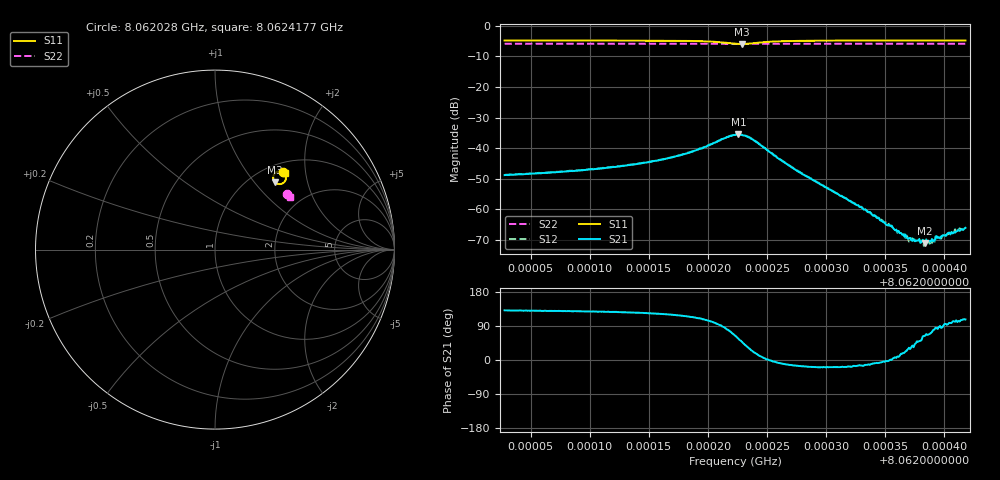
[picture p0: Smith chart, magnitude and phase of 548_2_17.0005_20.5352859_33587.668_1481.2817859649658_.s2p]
#  HZ  S  RI  R  50.00
! Rohde & Schwarz Vector Network Analyzer
! Rohde-Schwarz,ZNB20-2Port,1311601062101988,3.16
! Created: UTC 3/20/2024, 11:16:41 PM
! freq[Hz]  re:S11  im:S11  re:S21  im:S21  re:S12  im:S12  re:S22  im:S22
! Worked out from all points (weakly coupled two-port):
!   401 points, 8.062028 GHz to 8.0624177 GHz, reference 50 ohm
!   highest |S21| = -35.54 dB at 8.0622258 GHz (marker M1); lowest = -71.1 dB at 8.0623836 GHz (marker M2)
!   lowest |S11| = -6.0 dB at 8.0622287 GHz (marker M3), VSWR 3.02, Z = 64.1 + j64.3 ohm
!   |S11| at or under -10 dB: nowhere
!   |S22| runs from -5.9 to -5.9 dB; largest |S21 - S12| = 0.0011
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8.06202804e9  0.3788 0.4339  -0.00237 0.00273  -0.00222 0.00288  0.4037 0.3098
8.06209331e9  0.3846 0.428  -0.00269 0.00339  -0.00249 0.00358  0.4062 0.3063
8.06212741e9  0.3881 0.4234  -0.00301 0.00413  -0.0028 0.00431  0.4074 0.3044
8.06215858e9  0.3923 0.4165  -0.00336 0.00539  -0.00303 0.00562  0.4087 0.3026
8.06218585e9  0.3955 0.404  -0.00346 0.00795  -0.00305 0.00821  0.4095 0.3007
8.06220826e9  0.3888 0.3794  -0.00107 0.0128  -0.000335 0.0131  0.4095 0.2989
8.06222287e9  0.3543 0.3652  0.00696 0.0149  0.00798 0.0146  0.4083 0.2977
8.06222579e9  0.344 0.3686  0.00926 0.0139  0.01 0.0134  0.408 0.2982
8.06222872e9  0.3351 0.3748  0.0109 0.0122  0.0118 0.0117  0.4078 0.2982
8.06223748e9  0.3243 0.4031  0.0128 0.00571  0.0132 0.00503  0.408 0.2993
8.06226086e9  0.3501 0.435  0.00647 -0.000955  0.00647 -0.00138  0.4104 0.2993
8.06228814e9  0.3676 0.4356  0.00291 -0.000964  0.00286 -0.00111  0.412 0.2977
8.0623349e9  0.3794 0.431  0.000889 -0.000201  0.000894 -0.000223  0.414 0.2953
8.06235341e9  0.3822 0.4296  0.000561 -7.6e-06  0.000537 -4.65e-05  0.4147 0.2941
8.06236218e9  0.3833 0.4289  0.000398 8.1e-05  0.000419 5.59e-05  0.4151 0.2938
8.06237094e9  0.3844 0.4282  0.000298 0.000164  0.000301 0.000134  0.4154 0.2931
8.06238361e9  0.386 0.4272  0.000122 0.000251  0.000171 0.000251  0.4158 0.2925
8.06238945e9  0.3864 0.4269  8.83e-05 0.000313  7.93e-05 0.000267  0.4162 0.2921
8.06239432e9  0.3869 0.4265  4.76e-05 0.000338  9.08e-05 0.000331  0.4162 0.2918
8.06239627e9  0.3871 0.4264  2.95e-06 0.000337  5.99e-05 0.000327  0.4162 0.2919
8.06241088e9  0.3884 0.4253  -7.88e-05 0.000435  -8.33e-05 0.000449  0.4169 0.291
8.0624177e9  0.389 0.4248  -0.000145 0.000476  -8.75e-05 0.000481  0.417 0.2907
